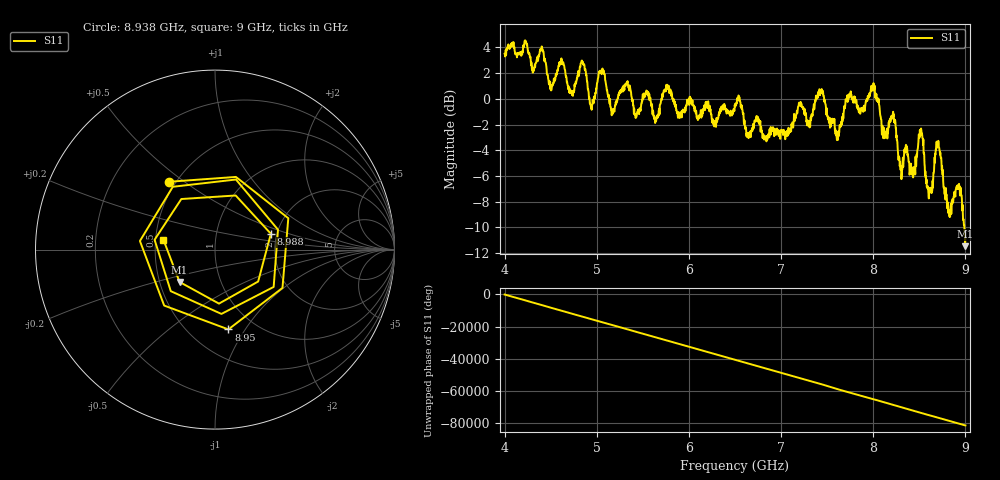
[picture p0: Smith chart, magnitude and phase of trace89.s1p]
! Created with skrf 1.8.0 (http://scikit-rf.org).
# Hz S RI R 50.0
!freq ReS11 ImS11
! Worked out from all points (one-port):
!   1601 points, 4 GHz to 9 GHz, reference 50 ohm
!   lowest |S11| = -11.5 dB at 8.997 GHz (marker M1), VSWR 1.73, Z = 31.6 - j12.3 ohm
!   |S11| at or under -10 dB: 8.988867 GHz to end of sweep
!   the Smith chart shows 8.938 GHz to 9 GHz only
!   S11 on the Smith chart (normalised r, x): 8.938 GHz: 0.46, +0.44; 8.95 GHz: 0.76, -0.84; 8.988 GHz: 1.86, +0.37; 9 GHz: 0.55, +0.07
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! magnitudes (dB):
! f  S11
! 4 GHz  3.5
! 4.403 GHz  4.1
! 4.506 GHz  0.7
! 4.625 GHz  2.8
! 4.731 GHz  0.3
! 4.85 GHz  2.9
! 4.941 GHz  -0.5
! 5.05 GHz  2.2
! 5.172 GHz  -1.2
! 5.25 GHz  0.5
! 5.875 GHz  -1.1
! 6.5 GHz  -0.6
! 6.647 GHz  -3.1
! 7.125 GHz  -1.9
! 7.431 GHz  0.4
! 7.609 GHz  -3.2
! 7.75 GHz  0.3
! 8 GHz  0.9
! 8.375 GHz  -4.3
! 8.519 GHz  -2.3
! 8.606 GHz  -7.1
! 8.703 GHz  -3.6
! 8.825 GHz  -9.0
! 8.938 GHz  -6.8
! 8.95 GHz  -6.9
! 8.988 GHz  -9.8
! 8.997 GHz  -11.5
! 9 GHz  -10.7
